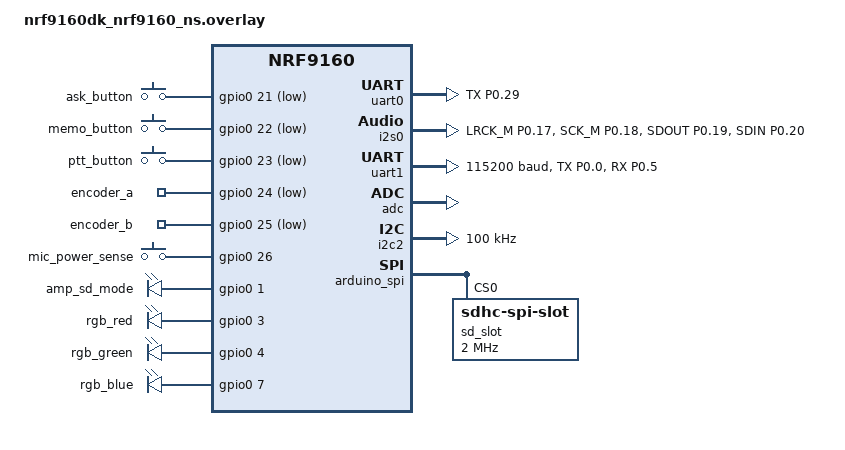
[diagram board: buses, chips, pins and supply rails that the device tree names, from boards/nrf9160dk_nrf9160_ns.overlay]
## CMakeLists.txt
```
#
# Copyright (c) 2025 Nordic Semiconductor ASA
#
# SPDX-License-Identifier: LicenseRef-Nordic-5-Clause
#

cmake_minimum_required(VERSION 3.20.0)
find_package(Zephyr REQUIRED HINTS $ENV{ZEPHYR_BASE})
project(pendant)

#
# libopus 1.6.1 is vendored from the official Xiph.Org release.  Its normal
# top-level CMake project changes global compiler settings, so consume the
# official source manifests directly and inherit Zephyr's Cortex-M33 flags.
#
set(OPUS_ROOT ${CMAKE_CURRENT_SOURCE_DIR}/third_party/opus)
include(${OPUS_ROOT}/cmake/OpusFunctions.cmake)
get_opus_sources(SILK_SOURCES ${OPUS_ROOT}/silk_sources.mk opus_silk_sources)
get_opus_sources(SILK_SOURCES_FIXED ${OPUS_ROOT}/silk_sources.mk opus_silk_fixed_sources)
get_opus_sources(CELT_SOURCES ${OPUS_ROOT}/celt_sources.mk opus_celt_sources)
get_opus_sources(OPUS_SOURCES ${OPUS_ROOT}/opus_sources.mk opus_sources)
get_opus_sources(OPUS_SOURCES_FLOAT ${OPUS_ROOT}/opus_sources.mk opus_float_sources)
foreach(opus_source_list
    opus_silk_sources
    opus_silk_fixed_sources
    opus_celt_sources
    opus_sources
    opus_float_sources)
  list(TRANSFORM ${opus_source_list} PREPEND "${OPUS_ROOT}/")
endforeach()

add_library(opus STATIC
  ${opus_silk_sources}
  ${opus_silk_fixed_sources}
  ${opus_celt_sources}
  ${opus_sources}
  ${opus_float_sources}
)
target_include_directories(opus PUBLIC ${OPUS_ROOT}/include)
target_include_directories(opus PRIVATE
  ${OPUS_ROOT}
  ${OPUS_ROOT}/celt
  ${OPUS_ROOT}/silk
  ${OPUS_ROOT}/silk/fixed
)
# Xiph OpusFAQ: on limited embedded, NONTHREADSAFE_PSEUDOSTACK moves SILK
# temps off the call stack into a fixed buffer (pendant_opus_scratch).
# GLOBAL_STACK_SIZE must match PENDANT_OPUS_SCRATCH_BYTES in audio_opus.h.
# Not thread-safe: only main thread may call opus_encode/decode.
target_compile_definitions(opus PRIVATE
  OPUS_BUILD
  FIXED_POINT=1
  DISABLE_FLOAT_API
  DISABLE_DEBUG_FLOAT
  ENABLE_HARDENING
  NONTHREADSAFE_PSEUDOSTACK
  GLOBAL_STACK_SIZE=28672
)
#
# Opus is the CPU budget on this device: the downlink decode and the uplink
# encode run concurrently on one 64 MHz core, and the achievable audio
# sample rate follows directly from how fast they are.
#
# -O3 rather than Zephyr's default -Os: this is DSP code in tight loops, and
# size is not the binding constraint (flash is ~54% used).
#
# The Cortex-M33 implements the ARM DSP extension, so libopus's ARMv5E
# integer paths (SMULWB/SMLABB and friends in celt/arm/fixed_armv5e.h and
# silk/arm/SigProc_FIX_armv5e.h) apply. They are header-only inline asm — no
# NEON, no .s files, nothing that needs runtime CPU detection.
#
#
# -O3 must be applied as a SOURCE property, not a target option: Zephyr's
# zephyr_interface appends its own -Os after any target-level flags, and the
# last -O wins. Verified via compile_commands.json — the target-level form
# produced "-O3 -Os" and silently kept building for size.
#
target_compile_options(opus PRIVATE -fstack-usage)
set_source_files_properties(
  ${opus_silk_sources}
  ${opus_silk_fixed_sources}
  ${opus_celt_sources}
  ${opus_sources}
  ${opus_float_sources}
  TARGET_DIRECTORY opus
  PROPERTIES COMPILE_OPTIONS "-O3"
)
target_compile_definitions(opus PRIVATE
  OPUS_ARM_ASM
  OPUS_ARM_INLINE_ASM
  OPUS_ARM_INLINE_EDSP
)
target_link_libraries(opus PRIVATE zephyr_interface)

target_sources(app PRIVATE
  src/main.c
  src/audio_opus.c
  src/pendant_bt.c
  src/pendant_cloud.c
  src/pendant_ws.c
  src/pendant_store.c
  src/pendant_reflex.c
  src/haptic.c
  src/pendant_status.c
  src/bench.c
)
target_compile_options(app PRIVATE -fstack-usage)

target_link_libraries(app PRIVATE opus)

generate_inc_file_for_target(
  app
  cert/globalsign_root_ca.pem
  ${ZEPHYR_BINARY_DIR}/include/generated/globalsign_root_ca.pem.inc
)
```

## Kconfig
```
mainmenu "nRF9160 agentic pendant"

config PENDANT_RELAY_API_KEY
	string "AI Pendant cloud relay API key (shared admin key - legacy)"
	default ""
	help
	  The SHARED ADMIN key. It authenticates as principal kind 'admin' with
	  scopes ['*'], which means a pendant carrying it can also reach
	  /v1/ops/*, the routine scheduler, and every other device's data. It is
	  byte-identical to RELAY_API_KEY in the repo-root .env, so the copy on
	  this chip is the same secret the Mac and every future node use, and
	  losing the pendant means rotating it everywhere at once.

	  Kept only as the migration fallback. Set PENDANT_RELAY_DEVICE_TOKEN
	  instead and leave this empty once the pendant is paired.

config PENDANT_RELAY_DEVICE_TOKEN
	string "AI Pendant relay device token (scoped, revocable)"
	default ""
	help
	  This pendant's own credential, of the form pdt_<id>.<secret>, minted
	  once by:

	    node software/ai-pendant-simulator/scripts/pendant-credentials.mjs \
	      pair --device-id nrf9160-pendant --role nrf_pendant

	  The relay stores only a SHA-256 of the secret, so the token is
	  printed exactly once and is unrecoverable afterwards. It carries the
	  nrf_pendant scope set and nothing else: announce, audio upload,
	  speech read, event write, mac:plan, mac:jobs:read, transcribe,
	  heartbeat-self. It cannot reach /v1/ops/*, cannot declare routines,
	  cannot execute on the Mac, and cannot act as another device. If the
	  pendant is lost, revoke this one token and nothing else changes:

	    pendant-credentials.mjs revoke --token-id <tokenId>

	  When set, this takes precedence over PENDANT_RELAY_API_KEY on every
	  relay request. Keep it out of source control: put it in secrets.conf,
	  which is gitignored, and remember that a built image embeds it in
	  plaintext (build*/zephyr/.config, autoconf.h, zephyr.elf, zephyr.bin).

config PENDANT_MIC_INJECT
	bool "Debug: replace captured mic audio with debugger-injected PCM"
	default n
	help
	  Build a debug-only audio injection path. When armed over SWD, every
	  512-sample mic stage is overwritten with PCM the host streams into a
	  RAM ring buffer before it reaches the Opus encoder, so an end-to-end
	  test carries a byte-identical utterance at a known level instead of
	  whatever the physical microphone happened to hear.

	  This exists because the acoustic test rig (play speech out of a
	  laptop speaker at the pendant) has two uncontrolled variables -
	  speaker distance and host output volume - which make level-sensitive
	  conclusions unfalsifiable. Digital injection removes both.

	  Costs ~4.1 KB of RAM for the ring and its control block, and leaves
	  the microphone hardware running but ignored. Leave this off in
	  production: it is a harness feature, not a product feature.

config PENDANT_OFFLINE_STORE
	bool "Offline store-and-forward outbox on microSD"
	default y
	help
	  The one capability no other node in this system can have: the
	  pendant is worn and holds non-volatile storage, so it can be
	  present and remember while the link is down.

	  Adds a durable FIFO outbox on the microSD card holding two kinds of
	  item: a voice memo whose upload failed, and a moment bookmark the
	  owner dropped without speaking. Items are delivered oldest-first
	  when the link returns and are removed ONLY after the relay confirms
	  receipt.

	  This never writes an extra byte of audio. record_microphone()
	  already journals to SD only when there is no live uplink at press
	  time; this option only decides whether that journal is kept
	  (upload failed) or discarded (upload succeeded).

	  Costs one manifest struct in RAM (see PENDANT_OFFLINE_STORE_SLOTS)
	  and no buffers: audio is streamed straight off the card.

config PENDANT_OFFLINE_STORE_SLOTS
	int "Outbox depth"
	depends on PENDANT_OFFLINE_STORE
	default 4
	range 1 8
	help
	  Queue slots. Each costs 48 B of RAM and, for a voice item, one
	  file on the card. Four is about an afternoon of dead-zone captures
	  at the 30 s recording cap; raise it only with the RAM budget in
	  hand (the build has ~8.9 kB free).

config PENDANT_ALERT_INBOX
	bool "Hold relay alerts on the device until the owner interacts"
	depends on PENDANT_OFFLINE_STORE
	default y
	help
	  Alerts the relay raised while the owner was unreachable are pulled
	  when there is signal, written to the microSD card, and surfaced on
	  the owner's next button press — which is exactly the moment the
	  link may be gone again. Reading them needs no radio at all.

	  The acknowledgement rides back out through the outbox rather than
	  the radio, so "the owner read this" survives being offline too.

	  Reuses the shared HTTP response buffer, so it owns no RAM beyond
	  the alert cursor inside the outbox manifest.

config PENDANT_ALERT_STATE_PATH
	string "Relay path the alert inbox polls"
	depends on PENDANT_ALERT_INBOX
	default "/v1/state/pendant-alerts"
	help
	  A device-scoped persistent-state key. The owner's Mac, a routine or
	  the dashboard PUTs {"data":{"alerts":[{"id":…,"text":…}]}} here with
	  the admin credential; the pendant may only read it.
	  /v1/announcements would be the natural source but is admin-scoped —
	  a paired device gets 403.

	  Reading it needs scope pendant:alerts:read, which the nrf_pendant
	  role holds. NOT state:read: that one scope covers the whole /v1/state
	  key space, including the Mac's agent-snapshot and fleet world-model,
	  and a device that can be lost should not be able to read those. The
	  relay grants the narrow scope on THIS EXACT PATH only
	  (cloud-relay/relayScopes.js), so changing this string means changing
	  that rule too or the poll starts taking a 403.

config PENDANT_BOOT_AGENT_JOB_ID
	string "Existing relay job to download at boot for diagnostics"
	default ""
	help
	  When non-empty, download the Mac-generated pendantSpeech payload from
	  this relay job after LTE initialization. Leave empty in production.

config PENDANT_REFLEX_SELFTEST
	bool "Debug: install a reflex test recipe at boot when the card has none"
	default n
	help
	  The microSD card cannot be mounted from the host, so a bare card
	  cannot carry a hand-written recipes.json for bring-up.  With this
	  option, a boot that finds NO recipes.json installs a RAM-only armed
	  10-second countdown recipe (id=1: LED burst + haptic double + chime)
	  exercising every reflex action kind, including the full I2S chime
	  path, without any file on the card.

	  RAM-only is the safety property: the test recipe is never written to
	  the card, cannot masquerade as an owner-installed recipe, and stops
	  appearing the moment a real recipes.json exists.  It costs no RAM
	  beyond the recipe table slot it borrows.  Leave off in production
	  builds; enable via reflex-selftest.conf for hardware verification.

config PENDANT_RGB_COMMON_ANODE
	bool "RGB status LED is common-anode (common leg wired to 3V)"
	default n
	help
	  A plain 4-leg RGB LED has three colour legs and one common leg, and
	  the part number alone does not tell you which way the common leg
	  goes.  This firmware assumes COMMON-CATHODE (the more usual hobby
	  part): common leg to GND, each colour leg driven HIGH through its
	  330 ohm resistor to light.  Turn this on for a COMMON-ANODE part:
	  common leg to the 3 V rail, each colour leg pulled LOW to light.

	  HOW TO TELL WITHOUT A DATASHEET.  The longest leg is the common one.
	  Flash the firmware with this option OFF and cut the mic power to
	  force the blue mute breath: a common-cathode part breathes blue on a
	  dark LED, while a common-anode part sits bright and DIMS where it
	  should brighten and shows the wrong colours everywhere else (the
	  duty is inverted, so every channel reads as its complement).  If
	  that is what you see, wire the common leg to 3V instead of GND, turn
	  this on and reflash.

	  Costs nothing either way: it selects one bit of the PWM duty word
	  (bit 15 = polarity) at compile time, so both wirings run the exact
	  same code at the exact same brightness.

config PENDANT_BENCH_TELEMETRY
	bool "Emit BENCH {json} control telemetry on the console"
	default y
	help
	  Print one machine-readable line per control change so the bench
	  dashboard on the Mac can show every button, the encoder, the volume
	  pot and the mic-power sense as live numbers while the owner wiggles
	  the wire they are unsure about.

	  WHY THIS IS IN THE PRODUCT AND NOT IN A SELF-TEST IMAGE. A separate
	  diagnostic firmware was the first plan and it answers the wrong
	  question: it can only tell you a wire works while the product is NOT
	  running. It also has to be flashed, which on this bench means the
	  owner loses the pendant for a minute every time they want to check a
	  jumper. Emitting from the shipping app makes the instrument agree
	  with reality by construction.

	  WHAT IT COSTS WITH NOBODY WATCHING. Change-driven with a 5 s
	  heartbeat and a 150 ms floor between lines. A still bench is one
	  ~180 byte line every five seconds — about 1.6 ms of UART — plus a
	  handful of GPIO register reads on loops that already turn. No
	  thread, no timer, no buffers; roughly 60 B of RAM in counters. The
	  emitter never allocates and never blocks on anything but the console
	  it is already sharing with printk.

	  Turn it off for a battery build where the console is unused, or when
	  the console is needed for something that cannot tolerate interleaved
	  lines. Everything else in the firmware behaves identically either
	  way: the emitter only ever reads pads and counters, and the call
	  sites compile to nothing when this is n.

source "Kconfig.zephyr"
```

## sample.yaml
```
sample:
  name: Agentic pendant nRF9160 firmware
  description: Build-only validation of the LTE-M audio pendant application
common:
  sysbuild: true
  build_only: true
  tags:
    - audio
    - cellular
    - filesystem
    - i2s
    - lte
tests:
  sample.agentic_pendant.build:
    platform_allow:
      - nrf9160dk/nrf9160/ns
    integration_platforms:
      - nrf9160dk/nrf9160/ns
```

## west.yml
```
# West manifest for the pendant firmware's third-party code.
#
# The only project is libopus, pinned to the exact Xiph.Org v1.6.1 release
# commit that was previously vendored verbatim under third_party/opus.
# `west update` checks it out to the identical path, so the CMake shim in
# CMakeLists.txt (OpusFunctions.cmake + the *_sources.mk manifests) works
# unchanged. The checkout is gitignored; this file is the pin.
#
# This repo is NOT the NCS workspace — builds still run from
# /opt/nordic/ncs/v3.4.0 exactly as README.txt documents. This manifest
# only exists so west can materialize the opus checkout. One-time setup
# after a fresh clone (west comes from scripts/env.sh):
#
#   west init -l firmware/nrf9160   # from the repo root; creates firmware/.west
#   west update                     # from anywhere under firmware/
#
# The vendored tree this replaces was byte-identical to the tag (a subset:
# vendoring had dropped doc/tests/dnn/meson extras and added the dist-only
# `package_version` file, which the build never reads).
manifest:
  remotes:
    - name: xiph
      url-base: https://github.com/xiph
  projects:
    - name: opus
      remote: xiph
      # Tag v1.6.1, pinned by commit so `west update` is reproducible even
      # if the tag ever moves.
      revision: 22244de5a79bd1d6d623c32e72bf1954b56235be
      path: nrf9160/third_party/opus
      clone-depth: 1
```

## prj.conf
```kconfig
CONFIG_GPIO=y
CONFIG_I2C=y
# Volume knob on SAADC AIN2/P0.15 (ratiometric VDD/4 reference; see
# volume_poll in main.c). One-shot polled reads only, no async, no stream.
CONFIG_ADC=y
CONFIG_I2S=y
# TX queue depth is a hard real-time budget, not a convenience: i2s_nrfx
# errors the ENTIRE duplex transfer (RX included) if the next TX buffer is
# missing one block after it asks. 8 queued + 2 latched = ~205 ms runway.
CONFIG_I2S_NRFX_TX_BLOCK_COUNT=8
CONFIG_I2S_NRFX_RX_BLOCK_COUNT=6
CONFIG_SPI=y
CONFIG_DISK_ACCESS=y
CONFIG_DISK_DRIVER_SDMMC=y
CONFIG_FILE_SYSTEM=y
CONFIG_FAT_FILESYSTEM_ELM=y
CONFIG_FS_FATFS_MOUNT_MKFS=n
CONFIG_FILE_SYSTEM_MKFS=n
# Long filenames, and this is a bug fix, not a nicety.
#
# Without it FatFs enforces 8.3 and returns FR_INVALID_NAME for anything
# longer, which Zephyr's fat_fs.c translate_error() folds into -ENOENT
# alongside FR_NO_FILE. So an over-long name fails a CREATE with "no such
# file" — a self-contradictory errno that reads as a missing card.
#
# Six of this firmware's paths were over 8.3 and had therefore NEVER worked:
# power_test.bin (10-char base), latest.opus and selftest.opus (4-char
# extensions), agent_reply.audio, agent_reply.pcm, and recipes.json — the
# reflex layer's entire persistence file. Measured on the board 2026-08-13:
# the card mounted, the boot self-test's create returned -2, sd_ready went
# false and main() halted in show_error() before LTE. The pendant had been
# dead at boot and the only symptom was a blinking LED nobody was watching.
#
# Renaming six paths was the alternative and is worse: recipes.json is a
# name the relay, the docs and any card the owner writes by hand all share,
# so 8.3 would have to be re-derived by every future author from an errno
# that actively misleads. MAX_LFN=64 (longest in use is 17) with the buffer
# in BSS rather than on a stack: +152 B RAM, +3.0 kB flash, measured.
CONFIG_FS_FATFS_LFN=y
CONFIG_FS_FATFS_LFN_MODE_BSS=y
CONFIG_FS_FATFS_MAX_LFN=64
CONFIG_SERIAL=y
CONFIG_CONSOLE=y
CONFIG_UART_CONSOLE=y
CONFIG_PRINTK=y
# uart1 (P0.00 TX / P0.05 RX) is the command link to the Bluetooth audio
# module. Interrupt-driven RX, not polled: uarte's poll_in restarts a
# one-byte reception per call, so every byte that arrives between two polls
# is lost — fine for a console nobody types at, useless for a device that
# reports scan results unprompted. TX stays poll_out (short commands, main
# thread only), so no TX buffer is allocated.
CONFIG_UART_INTERRUPT_DRIVEN=y

# nRF9160 LTE and native TLS socket support.
CONFIG_NETWORKING=y
CONFIG_NET_SOCKETS=y
CONFIG_NET_SOCKETS_OFFLOAD=y
# Every socket is modem-offloaded; the native IP stack only burned RAM
# (net_pkt pools, RX thread) without ever seeing a packet.
CONFIG_NET_NATIVE=n
CONFIG_POSIX_API=y

# Full-duplex conversation transport: WebSocket over the offloaded TLS
# socket. The handshake hashes with SHA-1, which only the HTTP *server*
# Kconfig selects — request it explicitly or connect fails with -EPROTO.
CONFIG_WEBSOCKET_CLIENT=y
CONFIG_HTTP_CLIENT=y
CONFIG_PSA_WANT_ALG_SHA_1=y
# POSIX_API force-selects timers; nothing here uses them, so shrink the
# pool from 32 slots (4 KiB) to the minimum.
CONFIG_POSIX_TIMER_MAX=4
CONFIG_LTE_LINK_CONTROL=y
CONFIG_LTE_LC_PDN_MODULE=y
CONFIG_LTE_LC_PDN_DEFAULTS_OVERRIDE=y
CONFIG_LTE_LC_PDN_DEFAULT_FAM_IPV4=y
# Default 600s leaves LED solid for up to 10 minutes (lte_lc_connect). 120s is
# enough for a real attach and fails clearly when SIM/signal is bad.
CONFIG_LTE_NETWORK_TIMEOUT=120
CONFIG_NRF_MODEM_LIB=y
CONFIG_MODEM_KEY_MGMT=y
# Opus uses a static NONTHREADSAFE_PSEUDOSTACK scratch (see CMakeLists), not
# malloc. websocket_send_msg k_mallocs each masked frame (≤ ~640 B here),
# so the heap carries WS frames + modem/socket leftovers.
CONFIG_HEAP_MEM_POOL_SIZE=3072
#
# Live Opus uses NONTHREADSAFE_PSEUDOSTACK: SILK temps live in a 28 KiB static
# buffer (audio_opus.c), not on the main thread stack. Measured on-hardware
# main-stack peak across full capture+encode+upload cycles: 5,792 B — 10 KiB
# keeps ~1.7x margin and funds the duplex buffers. Guard + INIT_STACKS stay.
CONFIG_MAIN_STACK_SIZE=10240
CONFIG_SYSTEM_WORKQUEUE_STACK_SIZE=2048
CONFIG_INIT_STACKS=y
CONFIG_EXTRA_EXCEPTION_INFO=y
# Minimal logging (printk-backed, no buffers or threads) so driver-level
# failures name themselves — i2s_nrfx distinguishes a TX underrun ("Next
# buffers not supplied on time") from an RX overrun ("No room in RX
# queue"), and guessing between them costs a flash cycle each time.
CONFIG_LOG=y
CONFIG_LOG_MODE_MINIMAL=y

# nRF91 modem applications execute as the non-secure image beside TF-M.
CONFIG_TFM_PROFILE_TYPE_MINIMAL=y
```

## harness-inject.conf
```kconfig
# Harness-only overlay: digital mic injection over SWD.
#
# Layer this on top of prj.conf when you need a reproducible end-to-end run.
# It replaces the physical microphone with PCM a debugger streams into RAM, so
# the utterance under test is byte-identical between runs at a known level —
# neither of which is true when the test rig plays speech out of a laptop
# speaker at the pendant.
#
#   west build -b nrf9160dk/nrf9160/ns -d <build> <app> -- \
#     -DEXTRA_CONF_FILE="<app>/secrets.conf;<app>/harness-inject.conf"
#
# Never layer this into a production image: see firmware/nrf9160/Kconfig.
CONFIG_PENDANT_MIC_INJECT=y
```

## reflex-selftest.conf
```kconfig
# Reflex-layer hardware verification overlay (same species as
# harness-inject.conf): stack on top of the normal build with
#   -DEXTRA_CONF_FILE="<...>/secrets.conf;<...>/reflex-selftest.conf"
#
# Installs a RAM-only armed 10 s countdown recipe at boot when the card has
# no recipes.json (LED burst + haptic double + chime), so the whole reflex
# path — trigger tick, haptic probe/degrade, I2S chime — proves itself from
# the serial log with nothing on the card.  See CONFIG_PENDANT_REFLEX_SELFTEST.
CONFIG_PENDANT_REFLEX_SELFTEST=y
```

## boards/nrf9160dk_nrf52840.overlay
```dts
/*
 * The nRF9160 DK's nRF52840 board controller routes these nRF9160 pins to
 * VCOM2 by default:
 *
 *   P0.00 / P0.01 - PDM microphone data and clock
 *   P0.14 / P0.15 - I2S LRCK and BCLK
 *
 * Disable that analog-switch path so the external audio bus owns the pins.
 * This overlay is built into the board-controller image, not the nRF9160 app.
 *
 * P0.00 is now also the nRF's UART TX to the Bluetooth module (uart1, see
 * the app overlay): with this switch closed the interface MCU would drive
 * that same line and fight every start bit, so this is a hard dependency of
 * the module link, not a convenience.
 */
&vcom2_pins_routing {
	status = "disabled";
};

/*
 * LED4 is switched away from nRF9160 P0.05 because that pin is now the
 * UART RX from the Bluetooth module. Left routed, the on-board LED and its
 * series resistor hang on the receive line: it still receives at 115200,
 * but LED4 glows on the idle-high line and an unpowered module lets the LED
 * string pull RX low into a permanent break. The cost of this line is
 * exactly one DK indicator — the firmware only ever uses LED1 (P0.02).
 */
&led4_pin_routing {
	status = "disabled";
};

/*
 * The RGB status indicator takes three more nRF9160 pins, and all three are
 * routed to on-board DK parts by default. Left routed, each on-board part
 * sits in parallel with the breadboard LED leg and steals its current — and
 * P0.07 is worse than a nuisance: pressing the DK's Button 2 would short a
 * PWM output straight to GND.
 *
 *   P0.03 -> RGB RED   (DK LED2)
 *   P0.04 -> RGB GREEN (DK LED3)
 *   P0.07 -> RGB BLUE  (DK Button 2)
 *
 * THE TRADEOFF, stated: DK LED2, LED3 and Button 2 are gone. The firmware
 * already used none of them — LED1 (P0.02) is its only on-board indicator
 * and every button it reads is an external one on P0.21-P0.23 — and the
 * pendant it is becoming has no DK to press anyway.
 */
&led2_pin_routing {
	status = "disabled";
};

&led3_pin_routing {
	status = "disabled";
};

&button2_pin_routing {
	status = "disabled";
};
```

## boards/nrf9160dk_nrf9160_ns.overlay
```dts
#include <zephyr/dt-bindings/gpio/gpio.h>
#include <zephyr/dt-bindings/i2c/i2c.h>
#include <zephyr/dt-bindings/pinctrl/nrf-pinctrl.h>
#include <samples/cellular/nrf91_crypto_partitions.dtsi>

/*
 * Breadboard hardware controls (owner's 2026-08-12 parts order).
 *
 * All buttons and the encoder switch to GND and rely on the internal
 * pull-ups declared here, so a wire that falls off the breadboard reads
 * "not pressed" instead of chattering. The mic-power sense is the one
 * deliberate exception: it watches the SPH0645's VDD net through 100k,
 * so it must not fight that net with any pull at all — high means the
 * red latching switch is feeding the mic, low means the owner cut its
 * power (the only honest hardware mute a digital mic has).
 */
/ {
	pendant_controls {
		compatible = "gpio-keys";

		ask_button: ask_button {
			gpios = <&gpio0 21 (GPIO_ACTIVE_LOW | GPIO_PULL_UP)>;
		};
		memo_button: memo_button {
			gpios = <&gpio0 22 (GPIO_ACTIVE_LOW | GPIO_PULL_UP)>;
		};
		/*
		 * Blue button, remapped 2026-08-12 from approve/deny to
		 * PUSH-TO-TALK (press = record a question with the radio off,
		 * press again = upload it and play the spoken answer). The pin,
		 * the pull policy and the sense-edge bit are unchanged — only
		 * what the firmware does with the edge changed.
		 */
		ptt_button: ptt_button {
			gpios = <&gpio0 23 (GPIO_ACTIVE_LOW | GPIO_PULL_UP)>;
		};
		/*
		 * THREE WIRES, NOT FIVE. Owner's ruling 2026-08-12: "we're not
		 * going to use the button on the rotary encoder." Their part is
		 * the illuminated type (3 rotation pins + 5 pins carrying a
		 * switch and a built-in LED); only rotation is wired — A -> P0.24,
		 * C -> GND, B -> P0.25. There is no encoder_push node because
		 * P0.28 IS NOT CONNECTED: declaring it would arm an interrupt on
		 * a floating pin. Select is now the firmware's dwell timer
		 * (MENU_DWELL_MS in src/main.c). **P0.28 is free** — first claim
		 * on the next feature that needs a GPIO.
		 */
		encoder_a: encoder_a {
			gpios = <&gpio0 24 (GPIO_ACTIVE_LOW | GPIO_PULL_UP)>;
		};
		encoder_b: encoder_b {
			gpios = <&gpio0 25 (GPIO_ACTIVE_LOW | GPIO_PULL_UP)>;
		};
		mic_power_sense: mic_power_sense {
			gpios = <&gpio0 26 GPIO_ACTIVE_HIGH>;
		};
	};

	/*
	 * Output-only pins share the gpio-leds shape (plain DT gpios consumed
	 * through GPIO_DT_SPEC_GET; no LED driver is enabled, so no code cost).
	 *
	 * amp_sd_mode gates the MAX98357A speaker amp: driven HIGH the amp
	 * plays the LEFT I2S slot (SD_MODE > 1.4 V = left channel, datasheet
	 * Table 5), which is the only slot this firmware ever puts audio in;
	 * driven LOW the amp is in full shutdown (0.6 uA). Boot default is
	 * LOW — Bluetooth through the ESP32 stays the sink until an
	 * {"type":"audio_sink"} control frame says otherwise.
	 *
	 * P0.01 because it is the last direction-safe free pin: it is the
	 * nRF91-TX line of the (disabled) uart1/VCOM2 group, so the DK's
	 * interface MCU only ever LISTENS on it. P0.00 (the group's RX) is
	 * driven by the interface MCU and P0.15 is the volume pot's ADC
	 * input (the only free AIN — see &adc below). Someone opening VCOM2
	 * on the host sees sink toggles as stray bytes; nothing more.
	 */
	pendant_outputs {
		compatible = "gpio-leds";

		amp_sd_mode: amp_sd_mode {
			gpios = <&gpio0 1 GPIO_ACTIVE_HIGH>;
		};
	};

	/*
	 * RGB status indicator (plain 4-leg part, one common leg + R/G/B,
	 * each colour leg through ~330 ohm).  Driven by PWM0 channels 0-2
	 * from src/pendant_status.c through the raw nrfx HAL, exactly the
	 * way main.c drives PWM1/PWM2 for the microphone clocks — no Zephyr
	 * PWM driver, no LED driver, no runtime device.
	 *
	 * These nodes exist so the PIN CLAIM is visible here with every other
	 * claim on this board; the code reads them with DT_GPIO_PIN(), which
	 * is a compile-time constant, so declaring them costs nothing.  The
	 * ACTIVE_HIGH flags describe the common-cathode default; the
	 * common-anode case is one inverted PWM duty bit and lives behind
	 * CONFIG_PENDANT_RGB_COMMON_ANODE, not behind a devicetree edit.
	 *
	 * P0.03 and P0.04 are the DK's LED2 and LED3 pins and P0.07 is the
	 * DK's Button 2 pin; boards/nrf9160dk_nrf52840.overlay opens all
	 * three analog switches, the same move the Bluetooth UART made for
	 * LED4.  THE TRADEOFF, stated: the DK's on-board Button 2 is gone.
	 * Acceptable — this firmware's buttons are the external yellow,
	 * green and blue ones on P0.21-P0.23, and Button 2's only firmware
	 * job (the bookmark press) is reachable from those.
	 */
	pendant_status_rgb {
		compatible = "gpio-leds";

		rgb_red: rgb_red {
			gpios = <&gpio0 3 GPIO_ACTIVE_HIGH>;
		};
		rgb_green: rgb_green {
			gpios = <&gpio0 4 GPIO_ACTIVE_HIGH>;
		};
		rgb_blue: rgb_blue {
			gpios = <&gpio0 7 GPIO_ACTIVE_HIGH>;
		};
	};

	aliases {
		rgb-red = &rgb_red;
		rgb-green = &rgb_green;
		rgb-blue = &rgb_blue;
		ask-btn = &ask_button;
		memo-btn = &memo_button;
		ptt-btn = &ptt_button;
		encoder-a = &encoder_a;
		encoder-b = &encoder_b;
		mic-sense = &mic_power_sense;
		amp-sd-mode = &amp_sd_mode;
	};
};

/*
 * The board nodes that used to own the three RGB pins, retired here so that
 * no future CONFIG_LED / CONFIG_INPUT can quietly re-claim them behind the
 * status subsystem's back.  Neither driver is enabled in this build today —
 * this is the seatbelt, not the brake.
 *
 *   led1    P0.03 -> RGB red
 *   led2    P0.04 -> RGB green
 *   button1 P0.07 -> RGB blue  (the DK's Button 2)
 */
&led1 {
	status = "disabled";
};

&led2 {
	status = "disabled";
};

&button1 {
	status = "disabled";
};

/*
 * PWM0 belongs to src/pendant_status.c through the raw nrfx HAL, so its
 * devicetree instance is disabled — the same arrangement PWM1/PWM2 already
 * have for the microphone clocks (they are disabled in devicetree and driven
 * by main.c).  Disabled here means "no Zephyr driver may bind", not "the
 * peripheral is unused": a bound pwm_nrfx would apply pwm0_default, which
 * puts PWM_OUT0 on P0.02 — this firmware's one on-board status LED.
 *
 * pwm_led0 goes with it: it is the board's demo node for that same channel.
 */
&pwm0 {
	status = "disabled";
};

&pwm_led0 {
	status = "disabled";
};

/*
 * Edge interrupts for the new controls ride the GPIO SENSE mechanism
 * (PORT event) instead of GPIOTE channels: the nRF9160 has only 8 GPIOTE
 * channels and the DK's own buttons already use some. Encoder edges are
 * hand-speed (worst observed ~2.5 ms apart on a fast spin) — µs-class
 * PORT latency is irrelevant there. Bits: P0.21-25.
 *
 * P0.28's bit is GONE (0x1be00000 -> 0x0be00000) with the encoder push: an
 * unwired pin left in the sense mask is a floating input free to wake the
 * CPU on every breadboard-coupled edge, which is a battery leak that looks
 * like a firmware bug.
 *
 * P0.27's bit is GONE too (0x0be00000 -> 0x03e00000) with the accelerometer:
 * the owner is not using it anymore, so the pin is unclaimed and, same rule
 * as P0.28, must not be left armed in the sense mask.
 */
&gpio0 {
	sense-edge-mask = <0x03e00000>;
};

/*
 * Console goes TX-only on its board-default pin (P0.29 -> DK VCOM0).
 *
 * The board's uart0_default pinctrl also claimed P0.26 (CTS, with a
 * bias-pull-up — directly against the mic-sense contract above, which
 * requires NO pull on that net), P0.27 (RTS — held the accelerometer's
 * INT1, now unclaimed by anything) and P0.28 (RX — once the encoder push,
 * likewise unclaimed). Nothing ever used them: flow control was never
 * enabled and console input is not a thing this firmware has. Dropping
 * them from the pinctrl frees all three pins honestly instead of leaning
 * on "the UARTE probably won't drive them" — and P0.27/P0.28 stay free,
 * so this repin is what keeps them genuinely available rather than
 * merely unused.
 */
&pinctrl {
	uart0_console_txonly: uart0_console_txonly {
		group1 {
			psels = <NRF_PSEL(UART_TX, 0, 29)>;
		};
	};

	uart0_sleep_txonly: uart0_sleep_txonly {
		group1 {
			psels = <NRF_PSEL(UART_TX, 0, 29)>;
			low-power-enable;
		};
	};
};

&uart0 {
	pinctrl-0 = <&uart0_console_txonly>;
	pinctrl-1 = <&uart0_sleep_txonly>;
	disable-rx;
};

/*
 * SRAM partitions — same node structure as Nordic's
 * nrf91_sram_crypto_partitions.dtsi but sized for THIS build: that dtsi
 * reserves 88 kB of secure RAM for the full TF-M crypto profile, while
 * this firmware runs TFM_PROFILE_TYPE_MINIMAL (32 kB). The 56 kB
 * difference funds the full-duplex audio buffers (concurrent Opus
 * encoder + decoder + jitter ring).
 *
 *   0x2000_0000  Secure RAM (TF-M minimal)       (   32 kB)
 *   0x2000_8000  Non-secure RAM area             (  224 kB)
 *     0x2000_8000  Modem shared area             ( 17768 B)
 *       0x2000_8000  control                     (  1256 B)
 *       0x2000_84e8  app -> cell                 (  8320 B)
 *       0x2000_a568  cell -> app                 (    8 kB)
 *     0x2000_c568  Application RAM               (211608 B)
 */
/delete-node/ &sram0_s;
/delete-node/ &sram0_ns;

&sram0 {
	sram0_s: sram@0 {
		reg = <0x0 0x8000>;
	};

	sram0_ns: sram@8000 {
		reg = <0x8000 0x38000>;
		#address-cells = <1>;
		#size-cells = <1>;
		ranges = <0x0 0x8000 0x38000>;

		/* Must be in first 128 kB of RAM. */
		sram0_ns_modem: sram0_ns@0 {
			/* Modem (shared) memory */
			reg = <0x0 0x4568>;
			#address-cells = <1>;
			#size-cells = <1>;
			ranges = <0x0 0x0 0x4568>;

			cpuapp_cpucell_ipc_shm_ctrl: sram0_ns_modem@0 {
				/* Modem IPC control */
				reg = <0x0 0x4e8>;
			};

			cpuapp_cpucell_ipc_shm_heap: sram0_ns_modem@4e8 {
				/* Modem IPC transmit */
				reg = <0x4e8 0x2080>;
			};

			cpucell_cpuapp_ipc_shm_heap: sram0_ns_modem@2568 {
				/* Modem IPC receive */
				reg = <0x2568 0x2000>;
			};
		};

		sram0_ns_app: sram0_ns@4568 {
			/* Non-Secure application memory */
			reg = <0x4568 0x33a98>;
		};
	};
};

&pinctrl {
	/*
	 * Agent-response audio to the ESP32 Bluetooth bridge:
	 *   LRC  -> A3 / P0.17 -> ESP32 GPIO33
	 *   BCLK -> A4 / P0.18 -> ESP32 GPIO27
	 *   DATA -> A5 / P0.19 -> ESP32 GPIO14
	 *
	 * Unlike the former A0/A1 pins, P0.17/P0.18/P0.19 are routed directly
	 * to the Arduino header and are not shared with the DK's VCOM2 path.
	 */
	/*
	 * The Adafruit SPH0645LM4H I2S microphone shares this bus:
	 *   DOUT -> dedicated GPIO header / P0.20 (I2S SDIN)
	 *
	 * During recording the nRF9160 runs I2S in slave mode: the SPH0645
	 * requires exactly 64 BCLK per stereo frame, which this I2S
	 * peripheral cannot generate as master (24-bit max word = 48 BCLK).
	 * PWM1/PWM2 generate BCLK on P0.16 (A2) and LRCLK on P0.14 (A0);
	 * two breadboard jumpers feed them back into P0.18 and P0.17.
	 * During playback the peripheral is master and drives the same pins.
	 */
	/*
	 * SDIN sits in its own group so it can carry a pull-down: with the
	 * red latching switch cutting the SPH0645's power, its DOUT floats,
	 * and an undriven SDIN would feed the capture path random full-scale
	 * garbage. The ~13k internal pull-down turns a depowered mic into
	 * digital silence. While the mic IS powered it drives DOUT only in
	 * the left slot and tri-states the rest of the frame — the pull-down
	 * resolves those tri-stated cycles to 0, exactly as before.
	 */
	i2s0_default_agent_audio: i2s0_default_agent_audio {
		group1 {
			psels = <NRF_PSEL(I2S_LRCK_M, 0, 17)>,
				<NRF_PSEL(I2S_SCK_M, 0, 18)>,
				<NRF_PSEL(I2S_SDOUT, 0, 19)>;
		};
		group2 {
			psels = <NRF_PSEL(I2S_SDIN, 0, 20)>;
			bias-pull-down;
		};
	};

	i2s0_sleep_agent_audio: i2s0_sleep_agent_audio {
		group1 {
			psels = <NRF_PSEL(I2S_LRCK_M, 0, 17)>,
				<NRF_PSEL(I2S_SCK_M, 0, 18)>,
				<NRF_PSEL(I2S_SDOUT, 0, 19)>;
			low-power-enable;
		};
		group2 {
			psels = <NRF_PSEL(I2S_SDIN, 0, 20)>;
			bias-pull-down;
			low-power-enable;
		};
	};
};

/*
 * One I2S peripheral serves both audio directions, never at the same time:
 * slave RX from the SPH0645 microphone while recording, master TX to the
 * ESP32 Bluetooth bridge while playing the agent reply.
 */
&i2s0 {
	status = "okay";
	pinctrl-0 = <&i2s0_default_agent_audio>;
	pinctrl-1 = <&i2s0_sleep_agent_audio>;
	pinctrl-names = "default", "sleep";
	clock-source = "PCLK32M";
	/*
	 * Priority 0, above NRF_DEFAULT_IRQ_PRIORITY (1). The modem's IPC
	 * IRQ and RTC1 also sit at 1, so at the default the I2S ISR could
	 * never preempt modem processing — and missing the I2S buffer
	 * deadline by one block period kills the whole duplex transfer.
	 * Not a zero-latency IRQ: the handler uses kernel objects.
	 */
	interrupts = <40 0>;
};

/*
 * ---- Bluetooth-module command link (uart1, 115200 8N1) ----
 *
 * The ESP32 stands in for a BM83-class Bluetooth audio module, and a module
 * like that is commanded over exactly one thing: a UART. So the nRF9160 owns
 * a UART to it, and the ESP32's USB port stays a debug console.
 *
 *   nRF P0.00 (TX) -> ESP32 GPIO16 (RX2)
 *   nRF P0.05 (RX) <- ESP32 GPIO17 (TX2)
 *
 * PIN VERDICT, resolved honestly against everything already claimed here:
 *
 *   TX = P0.00. It is uart1's board-default RX pin and part of the DK's
 *   VCOM2 group (P0.00/P0.01/P0.14/P0.15), where the interface MCU is the
 *   driver — which would be a hard conflict with an output, EXCEPT that
 *   this project already ships boards/nrf9160dk_nrf52840.overlay with
 *   vcom2_pins_routing DISABLED, so the analog switch between the IMCU and
 *   these four pins is open. P0.01 (the group's other line) has been
 *   driving MAX98357A SD_MODE on that same basis for weeks. Flashing the
 *   stock board-controller image would put the IMCU back on P0.00 and this
 *   TX would fight it — the board-controller overlay is a hard dependency
 *   of this pin, not a nicety.
 *
 *   RX = P0.05, the DK's LED4 pin. Every other candidate was taken when this
 *   was chosen: P0.01 = SD_MODE, P0.29 = console TX, P0.26 = mic sense
 *   (P0.27 held the accelerometer's INT1 then and is free now; P0.28 held
 *   the encoder push then and is free now — see the encoder node),
 *   P0.15 = the volume ADC, P0.10-13 =
 *   microSD, P0.14/16-20 = the audio bus, P0.21-25 = buttons and encoder,
 *   P0.30/31 = I2C. Of the four LED pins P0.02 is led0 (this firmware's
 *   only status LED) and P0.03/P0.04 are the next two; taking the HIGHEST
 *   unused one leaves the low LEDs available if a future build wants a
 *   second indicator. The same board-controller overlay now also disables
 *   led4_pin_routing, so the on-board LED4 is switched away from the pin
 *   and P0.05 is a clean input.
 *
 *   THE TRADEOFF, stated: DK LED4 is gone. With the stock board-controller
 *   image (LED4 still routed) the link still runs — 115200 has 8.7 us per
 *   bit against an LED network that only loads the line by a few mA — but
 *   LED4 glows on the idle-high line, and with the ESP32 unpowered the LED
 *   string pulls RX low, which the UARTE reports as a break. No ESP32, no
 *   commands: an honest failure.
 *
 * No hardware flow control: two wires, and the command set is short
 * newline-delimited JSON with no burst that can outrun a 115200 receiver.
 */
&pinctrl {
	uart1_bt_module: uart1_bt_module {
		group1 {
			psels = <NRF_PSEL(UART_TX, 0, 0)>;
		};

		group2 {
			psels = <NRF_PSEL(UART_RX, 0, 5)>;
			/*
			 * Pull-up on RX only: with the module unpowered or its
			 * wire off, an undriven RX floats and the UARTE turns
			 * noise into framing errors forever. Idle-high is the
			 * UART's own "nothing to say".
			 */
			bias-pull-up;
		};
	};

	uart1_bt_module_sleep: uart1_bt_module_sleep {
		group1 {
			psels = <NRF_PSEL(UART_TX, 0, 0)>;
		};

		group2 {
			psels = <NRF_PSEL(UART_RX, 0, 5)>;
			bias-pull-up;
			low-power-enable;
		};
	};
};

&uart1 {
	status = "okay";
	current-speed = <115200>;
	pinctrl-0 = <&uart1_bt_module>;
	pinctrl-1 = <&uart1_bt_module_sleep>;
	pinctrl-names = "default", "sleep";
};

/*
 * Volume knob on the SAADC: pot wiper -> P0.15 = AIN2.
 *
 * P0.15 is not a choice, it is the last analog pin standing: AIN0-7 are
 * fixed in silicon to P0.13-P0.20, and of those P0.13 clocks the microSD
 * SPI, P0.14/P0.16 are the PWM audio clocks and P0.17-P0.20 are the I2S
 * bus. Channel setup (VDD/4 reference + 1/4 gain, so the reading is
 * ratiometric to the same rail the pot spans and rail sag cancels) lives
 * in main.c, not in a DT child node.
 *
 * DK caveat: P0.15 sits in the VCOM2 flow-control group the interface
 * MCU routes by default. If the knob ever reads pinned-high garbage,
 * the IMCU is driving its side of that line — reflash the board
 * controller (nrf9160dk/nrf52840) with vcom2_pins_routing disabled, and
 * never open the host's VCOM2 port with hardware flow control on.
 */
&adc {
	status = "okay";
};

/*
 * I2C2 on the Arduino I2C header: SDA -> P0.30, SCL -> P0.31 (the
 * board's default i2c2 pinctrl). The DK routes no pull-ups to these
 * pins — the bus needs external 4.7 k resistors to 3V on the breadboard
 * (see firmware/CONTROLS_WIRING.md).
 *
 * One breakout lives on the bus, probed raw (no child node, no Zephyr
 * sensor driver — the register recipe is a handful of writes and the
 * sensor subsystem would cost kilobytes this build does not have):
 *
 *   0x5A  DRV2605L haptic driver (LRA)  — haptic.c
 *
 * The breakout may be physically absent; it probes its address exactly
 * once at boot and degrades (haptics -> LED patterns), so an absent
 * part costs one boot log line.  100 kHz for the same reason the SD
 * bus runs slow: loose breadboard wiring.
 */
&i2c2 {
	status = "okay";
	clock-frequency = <I2C_BITRATE_STANDARD>;
};

/*
 * Adafruit microSD breakout #254 on the Arduino SPI header:
 *   CLK -> D13 / P0.13, DO -> D12 / P0.12, DI -> D11 / P0.11,
 *   CS -> D10 / P0.10.
 */
&arduino_spi {
	status = "okay";

	sd_slot: sdhc@0 {
		compatible = "zephyr,sdhc-spi-slot";
		reg = <0>;
		/* Conservative speed for loose breadboard wiring. */
		spi-max-frequency = <2000000>;
		status = "okay";

		sdmmc {
			compatible = "zephyr,sdmmc-disk";
			disk-name = "SD";
			status = "okay";
		};
	};
};
```

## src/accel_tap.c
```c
/*
 * LSM6DSOX double-tap wake — contract in accel_tap.h.
 *
 * Raw register writes over i2c2, no Zephyr sensor driver: the sensor
 * subsystem plus the lsm6dso driver would cost kilobytes of flash and RAM
 * for what is nine register writes at boot and one GPIO edge afterwards,
 * on a build with ~8 kB of RAM left.
 */
#include <errno.h>
#include <zephyr/device.h>
#include <zephyr/devicetree.h>
#include <zephyr/drivers/gpio.h>
#include <zephyr/drivers/i2c.h>
#include <zephyr/kernel.h>
#include <zephyr/sys/printk.h>

#include "accel_tap.h"

/*
 * ---- LSM6DSO/LSM6DSOX register block (datasheet DS12140 section 9) ----
 * Everything device-specific lives between these fences; porting to a
 * different ST accelerometer means rewriting only this block.
 */
#define ACCEL_ADDR_PRIMARY 0x6A   /* Adafruit LSM6DSOX breakout default  */
#define ACCEL_ADDR_SECONDARY 0x6B /* same board with the DO jumper high  */

#define ACCEL_REG_WHO_AM_I 0x0F
#define ACCEL_WHO_AM_I_VALUE 0x6C /* LSM6DSO and LSM6DSOX both read 6Ch  */

#define ACCEL_REG_CTRL1_XL 0x10
#define ACCEL_REG_CTRL6_C 0x15
#define ACCEL_REG_CTRL9_XL 0x18
#define ACCEL_REG_TAP_CFG0 0x56
#define ACCEL_REG_TAP_CFG1 0x57
#define ACCEL_REG_TAP_CFG2 0x58
#define ACCEL_REG_TAP_THS_6D 0x59
#define ACCEL_REG_INT_DUR2 0x5A
#define ACCEL_REG_WAKE_UP_THS 0x5B
#define ACCEL_REG_MD1_CFG 0x5E

/*
 * ODR 104 Hz (ODR_XL=0100), FS +/-2 g, low-power mode via XL_HM_MODE=1:
 * ~26 uA continuous, the whole point of doing this in the sensor instead
 * of streaming.  NOTE the trade the budget buys: ST's AN5192 recommends
 * >=416 Hz ODR for crisp tap timing — at 104 Hz the shock/quiet windows
 * quantize to 9.6 ms samples and soft fingernail taps can slip through.
 * If real taps under-trigger, ACCEL_CTRL1_XL_VALUE 0x60 (416 Hz, ~85 uA)
 * is the one-line fix.
 */
#define ACCEL_CTRL1_XL_VALUE 0x40 /* 104 Hz, +/-2 g                      */
#define ACCEL_CTRL6_C_VALUE 0x10  /* XL_HM_MODE=1: low-power at this ODR */
#define ACCEL_CTRL9_XL_VALUE 0xE2 /* DEN defaults (0xE0) + I3C_disable,
				   * per DS12140 Table 67 footnote        */
/* Tap detection on X+Y+Z, LIR=0: INT1 pulses, nothing to clear over I2C
 * afterwards — the hot path is purely the GPIO edge. */
#define ACCEL_TAP_CFG0_VALUE 0x0E
/*
 * Threshold 1 LSB = FS/32 = 62.5 mg at +/-2 g; 12 LSB = 750 mg on every
 * axis. TAP_CFG2 also carries INTERRUPTS_ENABLE (bit 7).
 */
#define ACCEL_TAP_THS 0x0C
#define ACCEL_TAP_CFG1_VALUE ACCEL_TAP_THS
#define ACCEL_TAP_CFG2_VALUE (0x80 | ACCEL_TAP_THS)
#define ACCEL_TAP_THS_6D_VALUE ACCEL_TAP_THS
/*
 * INT_DUR2 = DUR[7:4] | QUIET[3:2] | SHOCK[1:0], all in ODR periods
 * (DS12140 Table 128): SHOCK=0 -> 4/ODR = 38 ms max over-threshold,
 * QUIET=1 -> 4/ODR = 38 ms settle, DUR=2 -> 2*32/ODR = 615 ms max gap
 * between the two taps of a double.
 */
#define ACCEL_INT_DUR2_VALUE 0x24
/* SINGLE_DOUBLE_TAP=1: double-tap recognition enabled (wake threshold
 * bits stay 0 — the wake-up function is not enabled anywhere). */
#define ACCEL_WAKE_UP_THS_VALUE 0x80
/* Route ONLY double-tap to INT1 (bit 3). Single tap: not routed = off. */
#define ACCEL_MD1_CFG_VALUE 0x08
/* ---- end register block ---- */

/* SWD-visible probe outcome, same shape as haptic.c's hooks. */
volatile uint32_t accel_probe_ok;
volatile int accel_probe_error = -9999;
volatile uint8_t accel_probe_addr;

#if DT_NODE_HAS_STATUS(DT_NODELABEL(i2c2), okay) && \
	DT_NODE_EXISTS(DT_ALIAS(accel_int1))

static const struct device *const accel_i2c =
	DEVICE_DT_GET(DT_NODELABEL(i2c2));
static const struct gpio_dt_spec accel_int1 =
	GPIO_DT_SPEC_GET(DT_ALIAS(accel_int1), gpios);
static struct gpio_callback accel_int1_callback;
static void (*accel_tap_cb)(void);
static bool accel_ready;
static uint8_t accel_addr;

static void accel_int1_isr(const struct device *port,
			   struct gpio_callback *callback,
			   gpio_port_pins_t pins)
{
	ARG_UNUSED(port);
	ARG_UNUSED(callback);
	ARG_UNUSED(pins);
	/*
	 * Only the double-tap event is routed to INT1, so the edge IS the
	 * event — no I2C in interrupt context, no source register to read.
	 */
	if (accel_tap_cb != NULL) {
		accel_tap_cb();
	}
}

static int accel_probe_addr_once(uint8_t addr)
{
	uint8_t who = 0U;
	int error = i2c_reg_read_byte(accel_i2c, addr, ACCEL_REG_WHO_AM_I,
				      &who);

	if (error != 0) {
		return error;
	}
	return who == ACCEL_WHO_AM_I_VALUE ? 0 : -ENODEV;
}

static int accel_configure(void)
{
	/* CTRL1_XL is written LAST: the accelerometer leaves power-down
	 * only after every tap parameter is already in place, so there is
	 * no window where a half-configured sensor can fire INT1. */
	static const uint8_t recipe[][2] = {
		{ ACCEL_REG_CTRL9_XL, ACCEL_CTRL9_XL_VALUE },
		{ ACCEL_REG_CTRL6_C, ACCEL_CTRL6_C_VALUE },
		{ ACCEL_REG_TAP_CFG0, ACCEL_TAP_CFG0_VALUE },
		{ ACCEL_REG_TAP_CFG1, ACCEL_TAP_CFG1_VALUE },
		{ ACCEL_REG_TAP_CFG2, ACCEL_TAP_CFG2_VALUE },
		{ ACCEL_REG_TAP_THS_6D, ACCEL_TAP_THS_6D_VALUE },
		{ ACCEL_REG_INT_DUR2, ACCEL_INT_DUR2_VALUE },
		{ ACCEL_REG_WAKE_UP_THS, ACCEL_WAKE_UP_THS_VALUE },
		{ ACCEL_REG_MD1_CFG, ACCEL_MD1_CFG_VALUE },
		{ ACCEL_REG_CTRL1_XL, ACCEL_CTRL1_XL_VALUE },
	};

	for (size_t i = 0U; i < ARRAY_SIZE(recipe); ++i) {
		int error = i2c_reg_write_byte(accel_i2c, accel_addr,
					       recipe[i][0], recipe[i][1]);

		if (error != 0) {
			return error;
		}
	}
	return 0;
}

int accel_tap_init(void (*double_tap_isr_cb)(void))
{
	int error;

	accel_tap_cb = double_tap_isr_cb;

	if (!device_is_ready(accel_i2c)) {
		error = -ENODEV;
		goto out;
	}

	/* One probe per address; absent breakout NAKs in microseconds. */
	accel_addr = ACCEL_ADDR_PRIMARY;
	error = accel_probe_addr_once(accel_addr);
	if (error != 0) {
		accel_addr = ACCEL_ADDR_SECONDARY;
		error = accel_probe_addr_once(accel_addr);
	}
	if (error != 0) {
		goto out;
	}
	accel_probe_addr = accel_addr;

	error = accel_configure();
	if (error != 0) {
		goto out;
	}

	/* INT1 is push-pull active-high from the sensor; the pin's DT
	 * pull-down only defines "no tap" when the jumper falls out.  The
	 * edge rides the PORT SENSE mechanism (sense-edge-mask bit 27), so
	 * this costs no GPIOTE channel — same budget rule as the buttons. */
	if (!gpio_is_ready_dt(&accel_int1) ||
	    gpio_pin_configure_dt(&accel_int1, GPIO_INPUT) != 0) {
		error = -EIO;
		goto out;
	}
	gpio_init_callback(&accel_int1_callback, accel_int1_isr,
			   BIT(accel_int1.pin));
	if (gpio_add_callback(accel_int1.port, &accel_int1_callback) != 0 ||
	    gpio_pin_interrupt_configure_dt(&accel_int1,
					    GPIO_INT_EDGE_TO_ACTIVE) != 0) {
		error = -EIO;
		goto out;
	}

	accel_ready = true;

out:
	accel_probe_error = error;
	accel_probe_ok = error == 0 ? 1U : 0U;
	if (error == 0) {
		printk("Accel: LSM6DSOX at 0x%02x — double-tap = talk "
		       "button (104 Hz, INT1 on P0.27)\n",
		       accel_addr);
	} else {
		/* The one and only log for an absent part. */
		printk("Accel: LSM6DSOX not answering (%d) — double-tap "
		       "wake off, buttons unaffected\n",
		       error);
	}
	return error;
}

bool accel_tap_available(void)
{
	return accel_ready;
}

#else /* !i2c2 || no accel-int1 alias */

int accel_tap_init(void (*double_tap_isr_cb)(void))
{
	ARG_UNUSED(double_tap_isr_cb);
	accel_probe_error = -ENODEV;
	accel_probe_ok = 0U;
	printk("Accel: i2c2/INT1 absent from devicetree — double-tap wake "
	       "off\n");
	return -ENODEV;
}

bool accel_tap_available(void)
{
	return false;
}

#endif /* i2c2 && accel-int1 */
```

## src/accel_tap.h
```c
#ifndef ACCEL_TAP_H_
#define ACCEL_TAP_H_

#include <stdbool.h>

/*
 * LSM6DSOX double-tap wake (I2C2 @ 0x6A/0x6B, INT1 -> P0.27).
 *
 * The part is identified by the owner's 2026-07-02 Adafruit invoice
 * (hardware/purchases/innovoice.webarchive: "Adafruit LSM6DSOX 6 DoF
 * Accelerometer and Gyroscope").  The register recipe is written against
 * the LSM6DSO datasheet on hand (DS12140) — the DSOX is register-identical
 * for everything used here, WHO_AM_I 0x6C included.  The full register map
 * sits in one block at the top of accel_tap.c so a different ST part
 * (LIS2DH12 etc.) is a swap of that block, nothing else.
 *
 * Hardware-only feature set, deliberately: double-tap detection runs inside
 * the sensor at 104 Hz low-power ODR (~26 uA), the gyroscope stays in
 * power-down, no data is ever streamed — the only traffic after boot
 * configuration is the INT1 edge itself.  A double tap behaves exactly like
 * a yellow-button press: the ISR-safe callback handed to accel_tap_init()
 * gives the same semaphore, so mute suppression, conversation start/stop
 * and every other press semantic apply unchanged.  Single-tap events are
 * not routed anywhere (config OFF).
 *
 * Probe-once contract, same as haptic.h: accel_tap_init() probes both I2C
 * addresses exactly once at boot; an absent breakout costs one log line and
 * the feature disappears (buttons still work).  No retries — re-probing is
 * a reboot.
 */

int accel_tap_init(void (*double_tap_isr_cb)(void));

bool accel_tap_available(void);

#endif /* ACCEL_TAP_H_ */
```
